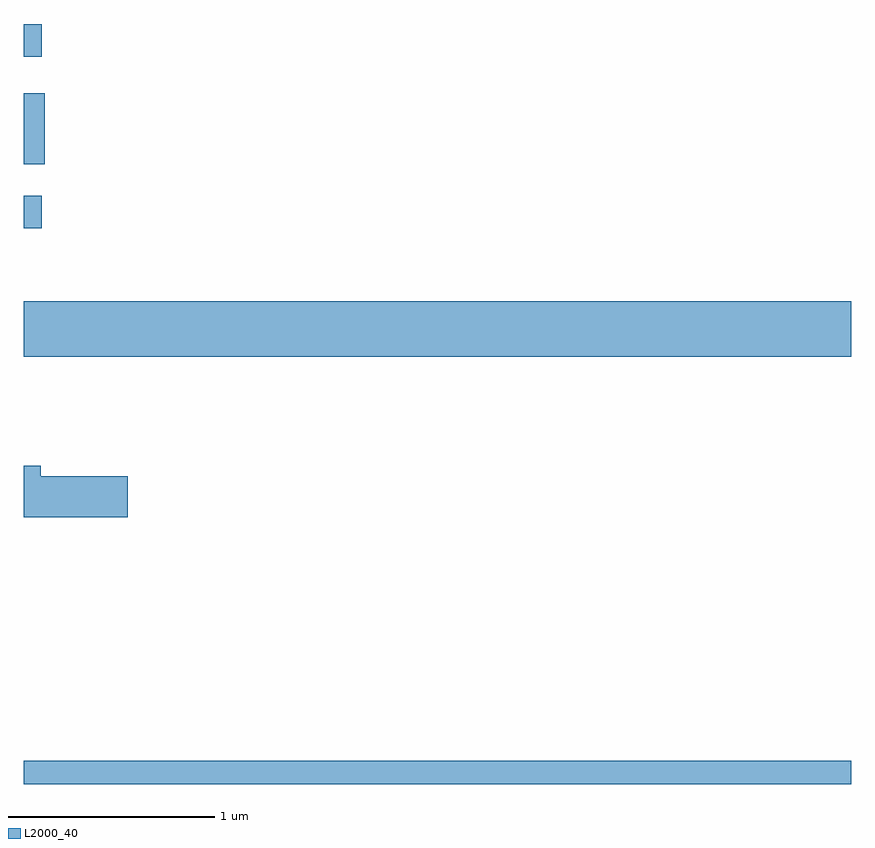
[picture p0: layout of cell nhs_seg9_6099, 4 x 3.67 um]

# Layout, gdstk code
import gdstk
lib = gdstk.Library(unit=1e-6, precision=1e-09)
def R(c, l, rs):  # rectangles x0, y0, x1, y1
    for r in rs: c.add(gdstk.rectangle(r[:2], r[2:], *l))
def P(c, l, *ps):  # polygons
    for p in ps: c.add(gdstk.Polygon(p, *l))
L2000_40 = (2000, 40)

nhs_seg9_6099 = lib.new_cell('nhs_seg9_6099')
R(nhs_seg9_6099, L2000_40, [(365.611,1976.432,369.611,1976.544), (365.611,1978.496,369.611,1978.764), (365.611,1979.116,365.698,1979.274), (365.611,1979.426,365.714,1979.769), (365.611,1979.946,365.698,1980.104)])
P(nhs_seg9_6099, L2000_40, [(366.114,1977.919),(365.694,1977.919),(365.694,1977.969),(365.611,1977.969),(365.611,1977.721),(366.114,1977.721)])

lib.write_gds('nhs_seg9_6099.gds')
